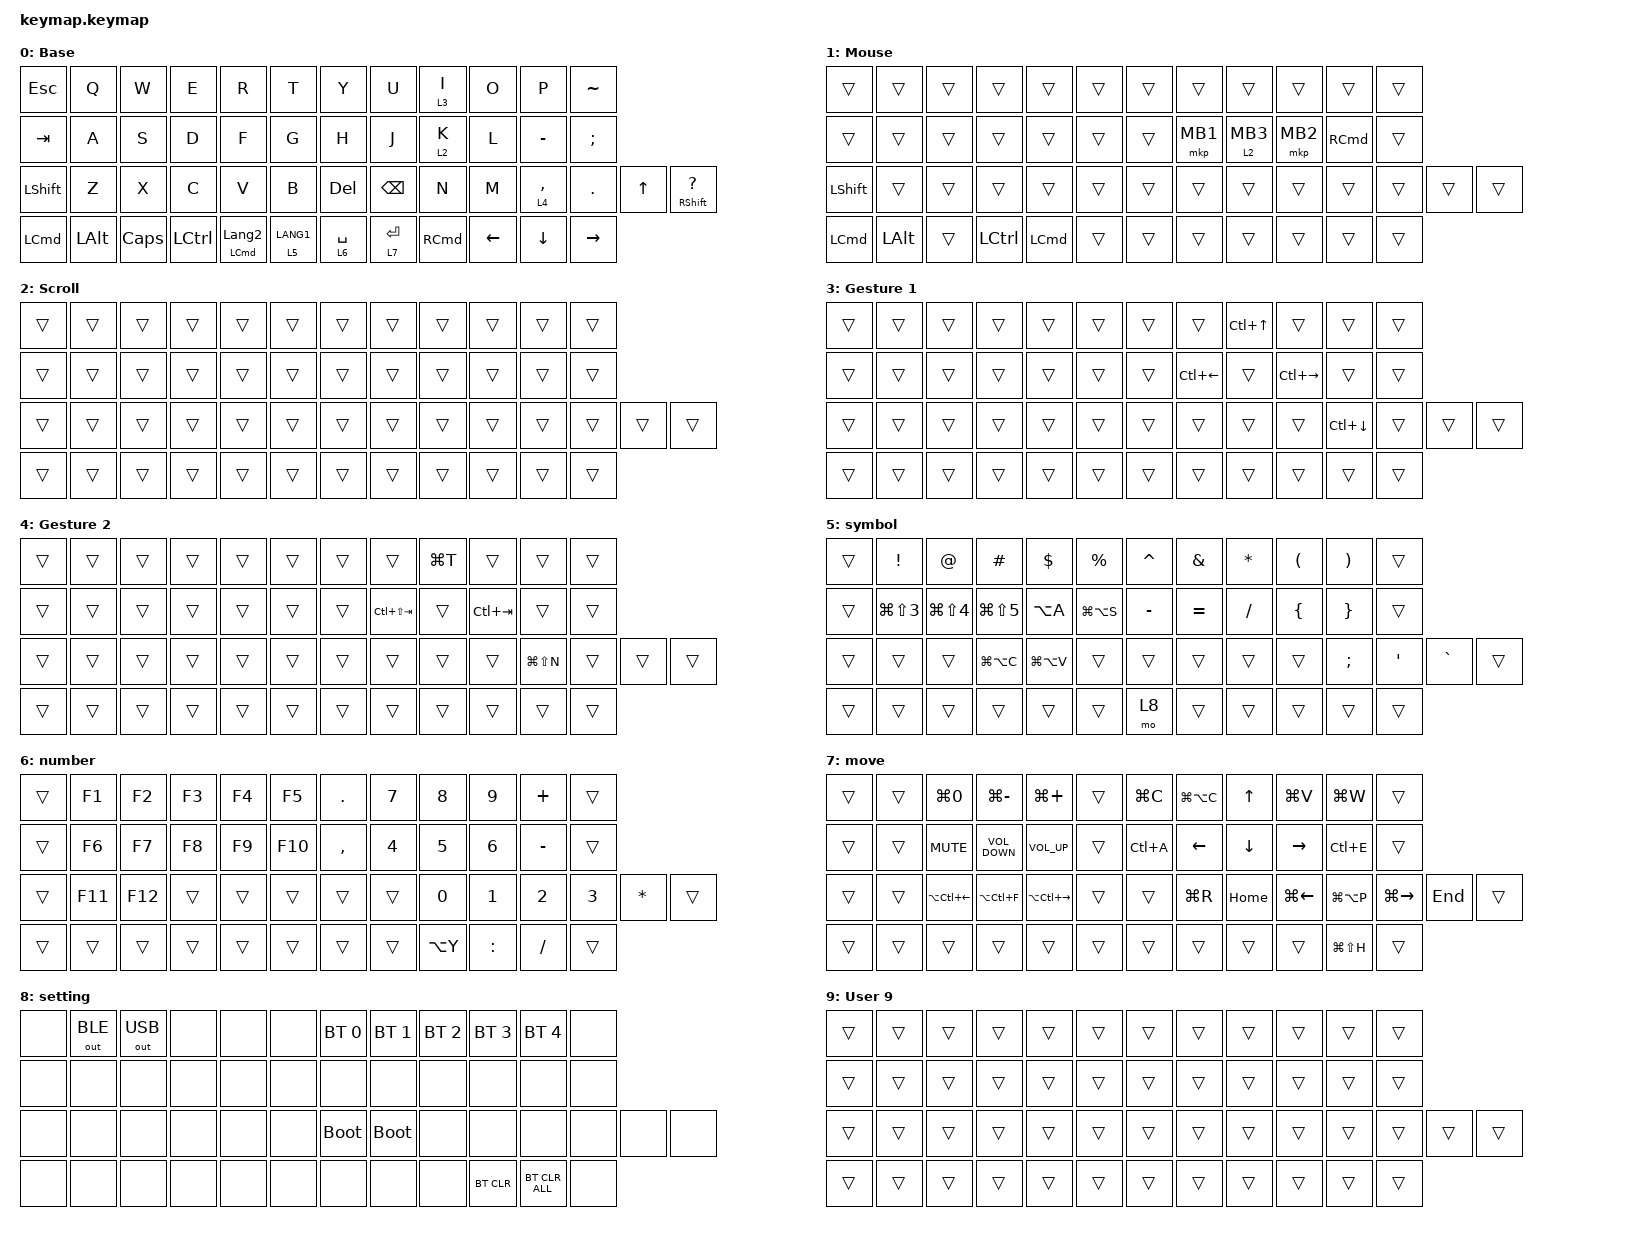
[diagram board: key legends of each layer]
#include <behaviors.dtsi>
#include <dt-bindings/zmk/bt.h>
#include <dt-bindings/zmk/keys.h>
#include <dt-bindings/zmk/outputs.h>
#include <dt-bindings/zmk/pointing.h>

&lt { tapping-term-ms = <300>; };

&mt { tapping-term-ms = <300>; };

/ {
    behaviors {
        mouse_lt: mouse_layer_tap {
            compatible = "zmk,behavior-hold-tap";
            #binding-cells = <2>;
            flavor = "tap-preferred";
            tapping-term-ms = <300>;
            bindings = <&mo>, <&mkp>;

            display-name = "Mouse Layer-Tap";
        };
    };

    combos {
        compatible = "zmk,combos";

        exit_app {
            bindings = <&kp LG(Q)>;
            key-positions = <10 11>;
        };

        log_off {
            bindings = <&kp LG(LC(Q))>;
            key-positions = <48 49 48 49>;
        };
    };

    keymap {
        compatible = "zmk,keymap";

        layer_0 {
            display-name = "Base";
            bindings = <
&kp ESCAPE        &kp Q         &kp W     &kp E      &kp R                        &kp T        &kp Y        &kp U          &lt 3 I            &kp O           &kp P           &kp TILDE
&kp TAB           &kp A         &kp S     &kp D      &kp F                        &kp G        &kp H        &kp J          &lt 2 K            &kp L           &kp MINUS       &kp SEMICOLON
&kp LSHFT         &kp Z         &kp X     &kp C      &kp V                        &kp B        &kp DELETE   &kp BACKSPACE  &kp N              &kp M           &lt 4 COMMA     &kp DOT          &kp UP_ARROW  &mt RSHIFT QUESTION
&kp LEFT_COMMAND  &kp LEFT_ALT  &kp CAPS  &kp LCTRL  &mt LEFT_COMMAND LANGUAGE_2  &lt 5 LANG1  &lt 6 SPACE  &lt 7 ENTER    &kp RIGHT_COMMAND  &kp LEFT_ARROW  &kp DOWN_ARROW  &kp RIGHT_ARROW
            >;
        };

        layer_1 {
            display-name = "Mouse";
            bindings = <
&trans            &trans        &trans  &trans     &trans            &trans  &trans  &trans    &trans           &trans    &trans             &trans
&trans            &trans        &trans  &trans     &trans            &trans  &trans  &mkp MB1  &mouse_lt 2 MB3  &mkp MB2  &kp RIGHT_COMMAND  &trans
&kp LSHIFT        &trans        &trans  &trans     &trans            &trans  &trans  &trans    &trans           &trans    &trans             &trans  &trans  &trans
&kp LEFT_COMMAND  &kp LEFT_ALT  &trans  &kp LCTRL  &kp LEFT_COMMAND  &trans  &trans  &trans    &trans           &trans    &trans             &trans
            >;
        };

        layer_2 {
            display-name = "Scroll";
            bindings = <
&trans  &trans  &trans  &trans  &trans  &trans  &trans  &trans  &trans  &trans  &trans  &trans
&trans  &trans  &trans  &trans  &trans  &trans  &trans  &trans  &trans  &trans  &trans  &trans
&trans  &trans  &trans  &trans  &trans  &trans  &trans  &trans  &trans  &trans  &trans  &trans  &trans  &trans
&trans  &trans  &trans  &trans  &trans  &trans  &trans  &trans  &trans  &trans  &trans  &trans
            >;
        };

        layer_3 {
            display-name = "Gesture 1";

            /* Conductor-style editable gesture slots:
             * I = up, J = left, L = right, comma/< = down.
             */

            bindings = <
&trans  &trans  &trans  &trans  &trans  &trans  &trans  &trans              &kp LC(UP_ARROW)  &trans         &trans              &trans
&trans  &trans  &trans  &trans  &trans  &trans  &trans  &kp LC(LEFT_ARROW)  &trans            &kp LC(RIGHT)  &trans              &trans
&trans  &trans  &trans  &trans  &trans  &trans  &trans  &trans              &trans            &trans         &kp LC(DOWN_ARROW)  &trans  &trans  &trans
&trans  &trans  &trans  &trans  &trans  &trans  &trans  &trans              &trans            &trans         &trans              &trans
            >;
        };

        layer_4 {
            display-name = "Gesture 2";

            /* Editable gesture slots:
             * I = up, J = left, L = right, comma/< = down.
             */

            bindings = <
&trans  &trans  &trans  &trans  &trans  &trans  &trans  &trans           &kp LG(T)  &trans       &trans         &trans
&trans  &trans  &trans  &trans  &trans  &trans  &trans  &kp LC(LS(TAB))  &trans     &kp LC(TAB)  &trans         &trans
&trans  &trans  &trans  &trans  &trans  &trans  &trans  &trans           &trans     &trans       &kp LG(LS(N))  &trans  &trans  &trans
&trans  &trans  &trans  &trans  &trans  &trans  &trans  &trans           &trans     &trans       &trans         &trans
            >;
        };

        layer_5 {
            display-name = "symbol";
            bindings = <
&trans  &kp EXCLAMATION  &kp AT_SIGN     &kp HASH        &kp DOLLAR     &kp PERCENT    &kp CARET  &kp AMPERSAND  &kp ASTRK  &kp LEFT_PARENTHESIS  &kp RIGHT_PARENTHESIS  &trans
&trans  &kp LG(LS(N3))   &kp LG(LS(N4))  &kp LG(LS(N5))  &kp LA(A)      &kp LG(LA(S))  &kp MINUS  &kp EQUAL      &kp SLASH  &kp LEFT_BRACE        &kp RIGHT_BRACE        &trans
&trans  &trans           &trans          &kp LG(LA(C))   &kp LG(LA(V))  &trans         &trans     &trans         &trans     &trans                &kp SEMICOLON          &kp SQT  &kp GRAVE  &trans
&trans  &trans           &trans          &trans          &trans         &trans         &mo 8      &trans         &trans     &trans                &trans                 &trans
            >;
        };

        layer_6 {
            display-name = "number";
            bindings = <
&trans  &kp F1   &kp F2   &kp F3  &kp F4  &kp F5   &kp PERIOD  &kp NUMBER_7  &kp NUMBER_8  &kp NUMBER_9  &kp PLUS      &trans
&trans  &kp F6   &kp F7   &kp F8  &kp F9  &kp F10  &kp COMMA   &kp NUMBER_4  &kp NUMBER_5  &kp NUMBER_6  &kp MINUS     &trans
&trans  &kp F11  &kp F12  &trans  &trans  &trans   &trans      &trans        &kp NUMBER_0  &kp NUMBER_1  &kp NUMBER_2  &kp NUMBER_3  &kp ASTERISK  &trans
&trans  &trans   &trans   &trans  &trans  &trans   &trans      &trans        &kp LA(Y)     &kp COLON     &kp SLASH     &trans
            >;
        };

        layer_7 {
            display-name = "move";
            bindings = <
&trans  &trans  &kp LG(NUMBER_0)        &kp LG(MINUS)      &kp LG(PLUS)       &trans  &kp LG(C)  &kp LG(LA(C))   &kp UP_ARROW    &kp LG(V)           &kp LG(W)      &trans
&trans  &trans  &kp K_MUTE              &kp C_VOLUME_DOWN  &kp C_VOLUME_UP    &trans  &kp LC(A)  &kp LEFT_ARROW  &kp DOWN_ARROW  &kp RIGHT_ARROW     &kp LC(E)      &trans
&trans  &trans  &kp LA(LC(LEFT_ARROW))  &kp LA(LC(F))      &kp LA(LC(RIGHT))  &trans  &trans     &kp LG(R)       &kp HOME        &kp LG(LEFT_ARROW)  &kp LG(LA(P))  &kp LG(RIGHT_ARROW)  &kp END  &trans
&trans  &trans  &trans                  &trans             &trans             &trans  &trans     &trans          &trans          &trans              &kp LG(LS(H))  &trans
            >;
        };

        layer_8 {
            display-name = "setting";
            bindings = <
&none  &out OUT_BLE  &out OUT_USB  &none  &none  &none  &bt BT_SEL 0  &bt BT_SEL 1  &bt BT_SEL 2  &bt BT_SEL 3  &bt BT_SEL 4    &none
&none  &none         &none         &none  &none  &none  &none         &none         &none         &none         &none           &none
&none  &none         &none         &none  &none  &none  &bootloader   &bootloader   &none         &none         &none           &none  &none  &none
&none  &none         &none         &none  &none  &none  &none         &none         &none         &bt BT_CLR    &bt BT_CLR_ALL  &none
            >;
        };

        layer_9 {
            display-name = "User 9";
            bindings = <
&trans  &trans  &trans  &trans  &trans  &trans  &trans  &trans  &trans  &trans  &trans  &trans
&trans  &trans  &trans  &trans  &trans  &trans  &trans  &trans  &trans  &trans  &trans  &trans
&trans  &trans  &trans  &trans  &trans  &trans  &trans  &trans  &trans  &trans  &trans  &trans  &trans  &trans
&trans  &trans  &trans  &trans  &trans  &trans  &trans  &trans  &trans  &trans  &trans  &trans
            >;
        };
    };
};
